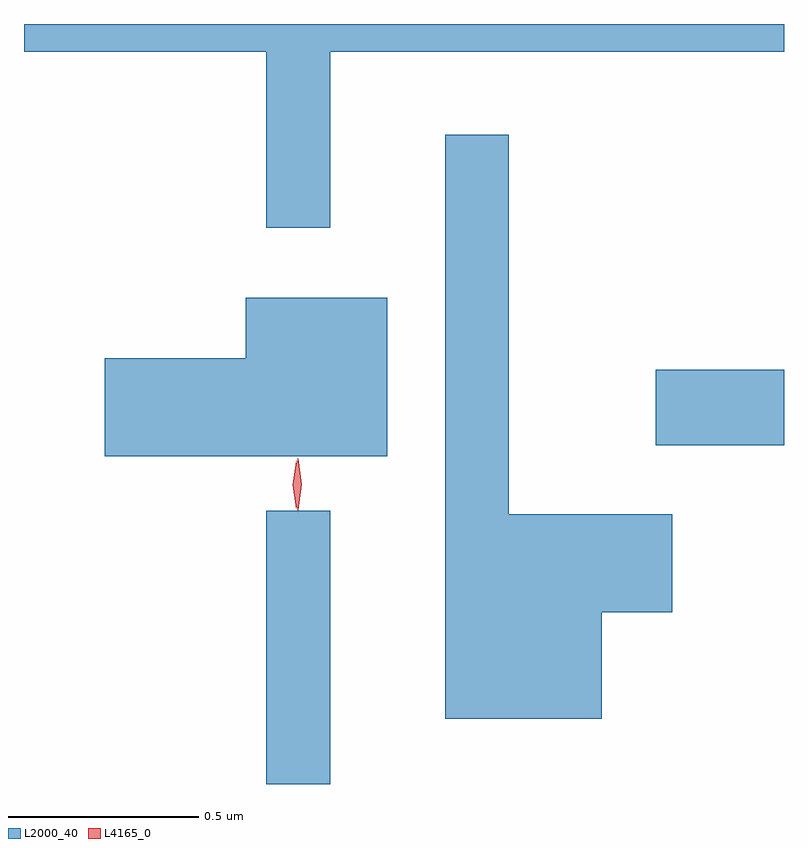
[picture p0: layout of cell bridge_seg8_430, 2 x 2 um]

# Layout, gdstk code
import gdstk
lib = gdstk.Library(unit=1e-6, precision=1e-09)
def R(c, l, rs):  # rectangles x0, y0, x1, y1
    for r in rs: c.add(gdstk.rectangle(r[:2], r[2:], *l))
def P(c, l, *ps):  # polygons
    for p in ps: c.add(gdstk.Polygon(p, *l))
L2000_40 = (2000, 40)
L4165_0 = (4165, 0)

bridge_seg8_430 = lib.new_cell('bridge_seg8_430')
R(bridge_seg8_430, L2000_40, [(875.801,1856.689,875.969,1857.408), (876.826,1857.581,877.163,1857.779)])
P(bridge_seg8_430, L2000_40, [(875.969,1858.616),(877.163,1858.616),(877.163,1858.689),(875.163,1858.689),(875.163,1858.616),(875.801,1858.616),(875.801,1858.153),(875.969,1858.153)],
  [(876.684,1857.141),(876.869,1857.141),(876.869,1857.399),(876.439,1857.399),(876.439,1858.398),(876.271,1858.398),(876.271,1856.861),(876.684,1856.861)],
  [(876.119,1857.969),(875.746,1857.969),(875.746,1857.809),(875.376,1857.809),(875.376,1857.551),(876.119,1857.551)])
P(bridge_seg8_430, L4165_0, [(875.884,1857.41),(875.875,1857.478),(875.884,1857.545),(875.884,1857.546),(875.885,1857.545),(875.894,1857.478),(875.885,1857.41),(875.885,1857.41)],
  [(875.88,1857.413),(875.879,1857.414),(875.87,1857.476),(875.879,1857.539),(875.879,1857.54),(875.88,1857.539),(875.889,1857.476),(875.88,1857.414)])

lib.write_gds('bridge_seg8_430.gds')
